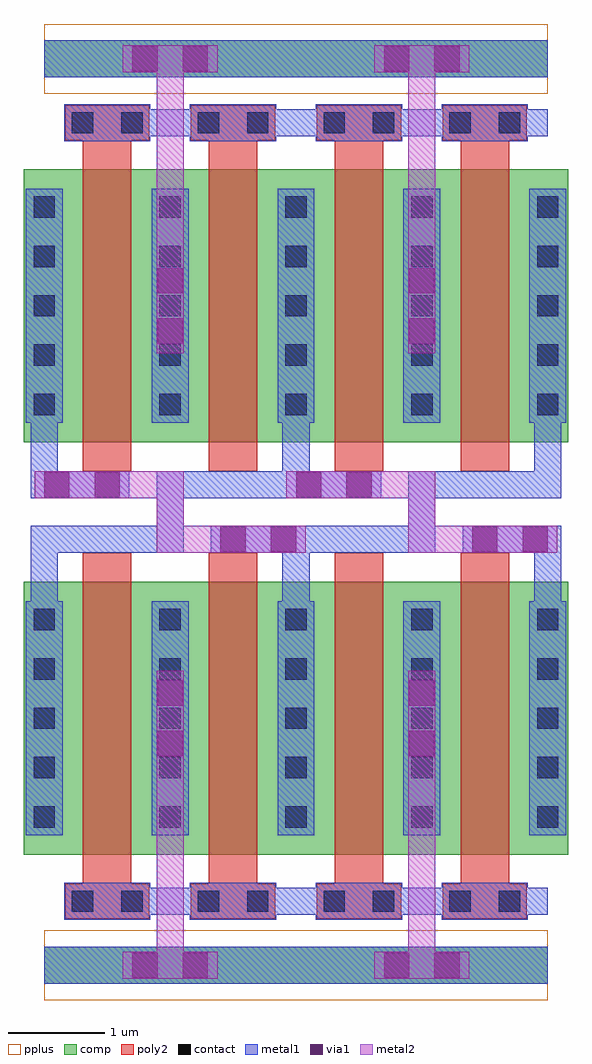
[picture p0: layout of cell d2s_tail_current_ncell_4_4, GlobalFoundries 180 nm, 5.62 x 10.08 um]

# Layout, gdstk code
import gdstk
lib = gdstk.Library(unit=1e-6, precision=5e-09)
def R(c, l, rs):  # rectangles x0, y0, x1, y1
    for r in rs: c.add(gdstk.rectangle(r[:2], r[2:], *l))
def A(c, l, x, y, w, h, nx, ny, dx, dy):  # array of equal rectangles
    R(c, l, [(x+i*dx, y+j*dy, x+i*dx+w, y+j*dy+h) for i in range(nx) for j in range(ny)])
comp = (22, 0)
poly2 = (30, 0)
pplus = (31, 0)
contact = (33, 0)
metal1 = (34, 0)
via1 = (35, 0)
metal2 = (36, 0)

d2s_tail_current_ncell_1 = lib.new_cell('d2s_tail_current_ncell_1$1')
R(d2s_tail_current_ncell_1, comp, [(0,0.3,0.42,3.12), (0.42,0.3,1.3,3.12), (1.3,0.3,1.72,3.12)])
R(d2s_tail_current_ncell_1, poly2, [(0.61,0,1.11,3.42)])
A(d2s_tail_current_ncell_1, contact, 0.1, 0.58, 0.22, 0.22, 1, 5, 0, 0.51)
A(d2s_tail_current_ncell_1, contact, 1.4, 0.58, 0.22, 0.22, 1, 5, 0, 0.51)
R(d2s_tail_current_ncell_1, metal1, [(0.02,0.5,0.4,2.92), (1.32,0.5,1.7,2.92)])

d2s_tail_current_ncell_4 = lib.new_cell('d2s_tail_current_ncell_4')
A(d2s_tail_current_ncell_4, poly2, 0.425, 3.42, 0.87, 0.36, 4, 1, 1.3, 0)
R(d2s_tail_current_ncell_4, contact, [(0.495,3.49,0.715,3.71), (1.005,3.49,1.225,3.71), (1.795,3.49,2.015,3.71), (2.305,3.49,2.525,3.71), (3.095,3.49,3.315,3.71), (3.605,3.49,3.825,3.71), (4.395,3.49,4.615,3.71), (4.905,3.49,5.125,3.71)])
A(d2s_tail_current_ncell_4, metal1, 0.415, 3.41, 0.89, 0.38, 4, 1, 1.3, 0)
d2s_tail_current_ncell_4.add(gdstk.Reference(d2s_tail_current_ncell_1, (0,0)))
d2s_tail_current_ncell_4.add(gdstk.Reference(d2s_tail_current_ncell_1, (1.3,0)))
d2s_tail_current_ncell_4.add(gdstk.Reference(d2s_tail_current_ncell_1, (2.6,0)))
d2s_tail_current_ncell_4.add(gdstk.Reference(d2s_tail_current_ncell_1, (3.9,0)))

c_d2s_tail_current_ncell_4 = lib.new_cell('d2s_tail_current_ncell_4_4')
R(c_d2s_tail_current_ncell_4, via1, [(1.12,0.23,1.38,0.49), (1.64,0.23,1.9,0.49), (3.72,0.23,3.98,0.49), (4.24,0.23,4.5,0.49), (1.38,2.52,1.64,2.78), (3.98,2.52,4.24,2.78), (1.38,3.04,1.64,3.3), (3.98,3.04,4.24,3.3), (2.03,4.63,2.29,4.89), (2.55,4.63,2.81,4.89), (4.63,4.63,4.89,4.89), (5.15,4.63,5.41,4.89), (0.21,5.19,0.47,5.45), (0.73,5.19,0.99,5.45), (2.81,5.19,3.07,5.45), (3.33,5.19,3.59,5.45), (1.38,6.78,1.64,7.04), (3.98,6.78,4.24,7.04), (1.38,7.3,1.64,7.56), (3.98,7.3,4.24,7.56), (1.12,9.59,1.38,9.85), (1.64,9.59,1.9,9.85), (3.72,9.59,3.98,9.85), (4.24,9.59,4.5,9.85)])
c_d2s_tail_current_ncell_4.add(gdstk.FlexPath([(1.305,1.02),(5.41,1.02)], 0.28, ends="flush", simple_path=True, layer=34, datatype=0))  # metal1
c_d2s_tail_current_ncell_4.add(gdstk.FlexPath([(2.81,5.96),(2.81,5.46)], 0.28, ends="flush", simple_path=True, layer=34, datatype=0))  # metal1
c_d2s_tail_current_ncell_4.add(gdstk.FlexPath([(0.21,9.72),(5.41,9.72)], 0.38, ends="flush", simple_path=True, layer=34, datatype=0))  # metal1
c_d2s_tail_current_ncell_4.add(gdstk.FlexPath([(2.81,4.12),(2.81,4.62)], 0.28, ends="flush", simple_path=True, layer=34, datatype=0))  # metal1
c_d2s_tail_current_ncell_4.add(gdstk.FlexPath([(0.21,4.12),(0.21,4.62)], 0.28, ends="flush", simple_path=True, layer=34, datatype=0))  # metal1
c_d2s_tail_current_ncell_4.add(gdstk.FlexPath([(0.21,5.96),(0.21,5.46)], 0.28, ends="flush", simple_path=True, layer=34, datatype=0))  # metal1
c_d2s_tail_current_ncell_4.add(gdstk.FlexPath([(2.91,5.32),(1.51,5.32),(1.51,4.76),(0.07,4.76)], 0.28, ends="flush", simple_path=True, layer=34, datatype=0))  # metal1
c_d2s_tail_current_ncell_4.add(gdstk.FlexPath([(1.09,5.32),(0.07,5.32)], 0.28, ends="flush", simple_path=True, layer=34, datatype=0))  # metal1
c_d2s_tail_current_ncell_4.add(gdstk.FlexPath([(5.41,4.12),(5.41,4.62)], 0.28, ends="flush", simple_path=True, layer=34, datatype=0))  # metal1
c_d2s_tail_current_ncell_4.add(gdstk.FlexPath([(5.55,5.32),(4.11,5.32),(4.11,4.76),(2.71,4.76)], 0.28, ends="flush", simple_path=True, layer=34, datatype=0))  # metal1
c_d2s_tail_current_ncell_4.add(gdstk.FlexPath([(3.69,5.32),(2.71,5.32)], 0.28, ends="flush", simple_path=True, layer=34, datatype=0))  # metal1
c_d2s_tail_current_ncell_4.add(gdstk.FlexPath([(5.41,5.96),(5.41,5.46)], 0.28, ends="flush", simple_path=True, layer=34, datatype=0))  # metal1
c_d2s_tail_current_ncell_4.add(gdstk.FlexPath([(2.81,4.12),(2.81,4.62)], 0.28, ends="flush", simple_path=True, layer=34, datatype=0))  # metal1
c_d2s_tail_current_ncell_4.add(gdstk.FlexPath([(5.55,4.76),(4.53,4.76)], 0.28, ends="flush", simple_path=True, layer=34, datatype=0))  # metal1
c_d2s_tail_current_ncell_4.add(gdstk.FlexPath([(2.81,5.96),(2.81,5.46)], 0.28, ends="flush", simple_path=True, layer=34, datatype=0))  # metal1
c_d2s_tail_current_ncell_4.add(gdstk.FlexPath([(2.91,4.76),(1.93,4.76)], 0.28, ends="flush", simple_path=True, layer=34, datatype=0))  # metal1
c_d2s_tail_current_ncell_4.add(gdstk.FlexPath([(1.305,9.06),(5.41,9.06)], 0.28, ends="flush", simple_path=True, layer=34, datatype=0))  # metal1
c_d2s_tail_current_ncell_4.add(gdstk.FlexPath([(0.21,0.36),(5.41,0.36)], 0.38, ends="flush", simple_path=True, layer=34, datatype=0))  # metal1
c_d2s_tail_current_ncell_4.add(gdstk.FlexPath([(0.21,9.72),(5.41,9.72)], 0.38, ends="flush", simple_path=True, layer=22, datatype=0))  # comp
c_d2s_tail_current_ncell_4.add(gdstk.FlexPath([(0.21,0.36),(5.41,0.36)], 0.38, ends="flush", simple_path=True, layer=22, datatype=0))  # comp
c_d2s_tail_current_ncell_4.add(gdstk.FlexPath([(2.91,4.76),(1.51,4.76),(1.51,5.32),(0.11,5.32)], 0.28, ends="flush", simple_path=True, layer=36, datatype=0))  # metal2
c_d2s_tail_current_ncell_4.add(gdstk.FlexPath([(5.51,4.76),(4.11,4.76),(4.11,5.32),(2.71,5.32)], 0.28, ends="flush", simple_path=True, layer=36, datatype=0))  # metal2
c_d2s_tail_current_ncell_4.add(gdstk.FlexPath([(4.11,6.68),(4.11,7.66)], 0.28, ends="flush", simple_path=True, layer=36, datatype=0))  # metal2
c_d2s_tail_current_ncell_4.add(gdstk.FlexPath([(1.51,6.68),(1.51,7.66)], 0.28, ends="flush", simple_path=True, layer=36, datatype=0))  # metal2
c_d2s_tail_current_ncell_4.add(gdstk.FlexPath([(4.11,2.42),(4.11,3.4)], 0.28, ends="flush", simple_path=True, layer=36, datatype=0))  # metal2
c_d2s_tail_current_ncell_4.add(gdstk.FlexPath([(1.51,2.42),(1.51,3.4)], 0.28, ends="flush", simple_path=True, layer=36, datatype=0))  # metal2
c_d2s_tail_current_ncell_4.add(gdstk.FlexPath([(1.02,9.72),(2,9.72)], 0.28, ends="flush", simple_path=True, layer=36, datatype=0))  # metal2
c_d2s_tail_current_ncell_4.add(gdstk.FlexPath([(1.51,7.66),(1.51,9.58)], 0.28, ends="flush", simple_path=True, layer=36, datatype=0))  # metal2
c_d2s_tail_current_ncell_4.add(gdstk.FlexPath([(4.11,7.66),(4.11,9.58)], 0.28, ends="flush", simple_path=True, layer=36, datatype=0))  # metal2
c_d2s_tail_current_ncell_4.add(gdstk.FlexPath([(3.62,9.72),(4.6,9.72)], 0.28, ends="flush", simple_path=True, layer=36, datatype=0))  # metal2
c_d2s_tail_current_ncell_4.add(gdstk.FlexPath([(1.02,0.36),(2,0.36)], 0.28, ends="flush", simple_path=True, layer=36, datatype=0))  # metal2
c_d2s_tail_current_ncell_4.add(gdstk.FlexPath([(1.51,2.42),(1.51,0.5)], 0.28, ends="flush", simple_path=True, layer=36, datatype=0))  # metal2
c_d2s_tail_current_ncell_4.add(gdstk.FlexPath([(4.11,2.42),(4.11,0.5)], 0.28, ends="flush", simple_path=True, layer=36, datatype=0))  # metal2
c_d2s_tail_current_ncell_4.add(gdstk.FlexPath([(3.62,0.36),(4.6,0.36)], 0.28, ends="flush", simple_path=True, layer=36, datatype=0))  # metal2
c_d2s_tail_current_ncell_4.add(gdstk.FlexPath([(0.21,9.72),(5.41,9.72)], 0.72, ends="flush", simple_path=True, layer=31, datatype=0))  # pplus
c_d2s_tail_current_ncell_4.add(gdstk.FlexPath([(0.21,0.36),(5.41,0.36)], 0.72, ends="flush", simple_path=True, layer=31, datatype=0))  # pplus
c_d2s_tail_current_ncell_4.add(gdstk.Reference(d2s_tail_current_ncell_4, (0,5.46)))
c_d2s_tail_current_ncell_4.add(gdstk.Reference(d2s_tail_current_ncell_4, (0,4.62), x_reflection=True))

lib.write_gds('d2s_tail_current_ncell_4_4.gds')
